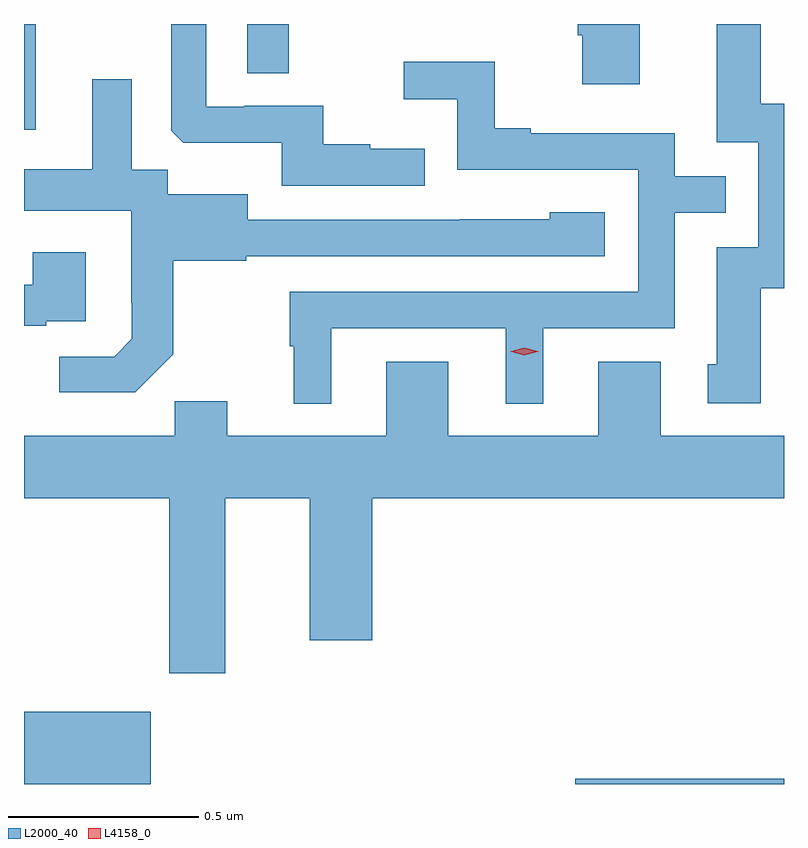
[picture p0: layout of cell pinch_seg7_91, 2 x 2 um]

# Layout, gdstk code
import gdstk
lib = gdstk.Library(unit=1e-6, precision=1e-09)
def R(c, l, rs):  # rectangles x0, y0, x1, y1
    for r in rs: c.add(gdstk.rectangle(r[:2], r[2:], *l))
def P(c, l, *ps):  # polygons
    for p in ps: c.add(gdstk.Polygon(p, *l))
L2000_40 = (2000, 40)
L4158_0 = (4158, 0)

pinch_seg7_91 = lib.new_cell('pinch_seg7_91')
R(pinch_seg7_91, L2000_40, [(895.524,1011.852,895.858,1012.042), (896.975,1011.852,897.524,1011.866), (895.524,1013.574,895.555,1013.852), (896.112,1013.722,896.221,1013.852)])
P(pinch_seg7_91, L2000_40, [(897.145,1013.852),(896.981,1013.852),(896.981,1013.823),(896.993,1013.823),(896.993,1013.694),(897.145,1013.694)],
  [(896.579,1013.524),(896.435,1013.524),(896.435,1013.536),(896.312,1013.536),(896.312,1013.637),(896.104,1013.637),(896.104,1013.634),(896.004,1013.634),(896.004,1013.851),(895.911,1013.851),(895.911,1013.571),(895.943,1013.54),(896.202,1013.54),(896.202,1013.427),(896.579,1013.427)],
  [(897.463,1013.157),(897.524,1013.157),(897.524,1013.642),(897.463,1013.642),(897.463,1013.851),(897.347,1013.851),(897.347,1013.541),(897.456,1013.541),(897.456,1013.265),(897.347,1013.265),(897.347,1012.956),(897.323,1012.956),(897.323,1012.854),(897.463,1012.854)],
  [(896.332,1013.052),(896.792,1013.052),(896.792,1012.853),(896.89,1012.853),(896.89,1013.052),(897.237,1013.052),(897.237,1013.355),(897.371,1013.355),(897.371,1013.451),(897.237,1013.451),(897.237,1013.565),(896.857,1013.565),(896.857,1013.578),(896.763,1013.578),(896.763,1013.753),(896.523,1013.753),(896.523,1013.654),(896.664,1013.654),(896.664,1013.469),(897.141,1013.469),(897.141,1013.148),(896.223,1013.148),(896.223,1013.004),(896.234,1013.004),(896.234,1012.853),(896.332,1012.853)],
  [(895.917,1012.983),(895.917,1013.229),(896.109,1013.229),(896.109,1013.241),(897.052,1013.241),(897.052,1013.356),(896.907,1013.356),(896.907,1013.338),(896.671,1013.338),(896.671,1013.337),(896.113,1013.337),(896.113,1013.404),(895.902,1013.404),(895.902,1013.468),(895.807,1013.468),(895.807,1013.707),(895.703,1013.707),(895.703,1013.47),(895.524,1013.47),(895.524,1013.36),(895.806,1013.36),(895.806,1013.119),(895.808,1013.119),(895.808,1013.024),(895.761,1012.977),(895.617,1012.977),(895.617,1012.883),(895.817,1012.883)],
  [(895.583,1013.07),(895.687,1013.07),(895.687,1013.251),(895.547,1013.251),(895.547,1013.166),(895.524,1013.166),(895.524,1013.058),(895.583,1013.058)],
  [(897.035,1012.963),(897.035,1012.768),(896.641,1012.768),(896.641,1012.963),(896.477,1012.963),(896.477,1012.768),(896.059,1012.768),(896.059,1012.859),(895.921,1012.859),(895.921,1012.768),(895.524,1012.768),(895.524,1012.604),(895.906,1012.604),(895.906,1012.143),(896.053,1012.143),(896.053,1012.604),(896.276,1012.604),(896.276,1012.23),(896.44,1012.23),(896.44,1012.604),(897.524,1012.604),(897.524,1012.768),(897.199,1012.768),(897.199,1012.963)])
P(pinch_seg7_91, L4158_0, [(896.841,1012.98),(896.806,1012.99),(896.805,1012.99),(896.806,1012.991),(896.841,1013),(896.876,1012.991),(896.877,1012.99),(896.876,1012.99)])

lib.write_gds('pinch_seg7_91.gds')
